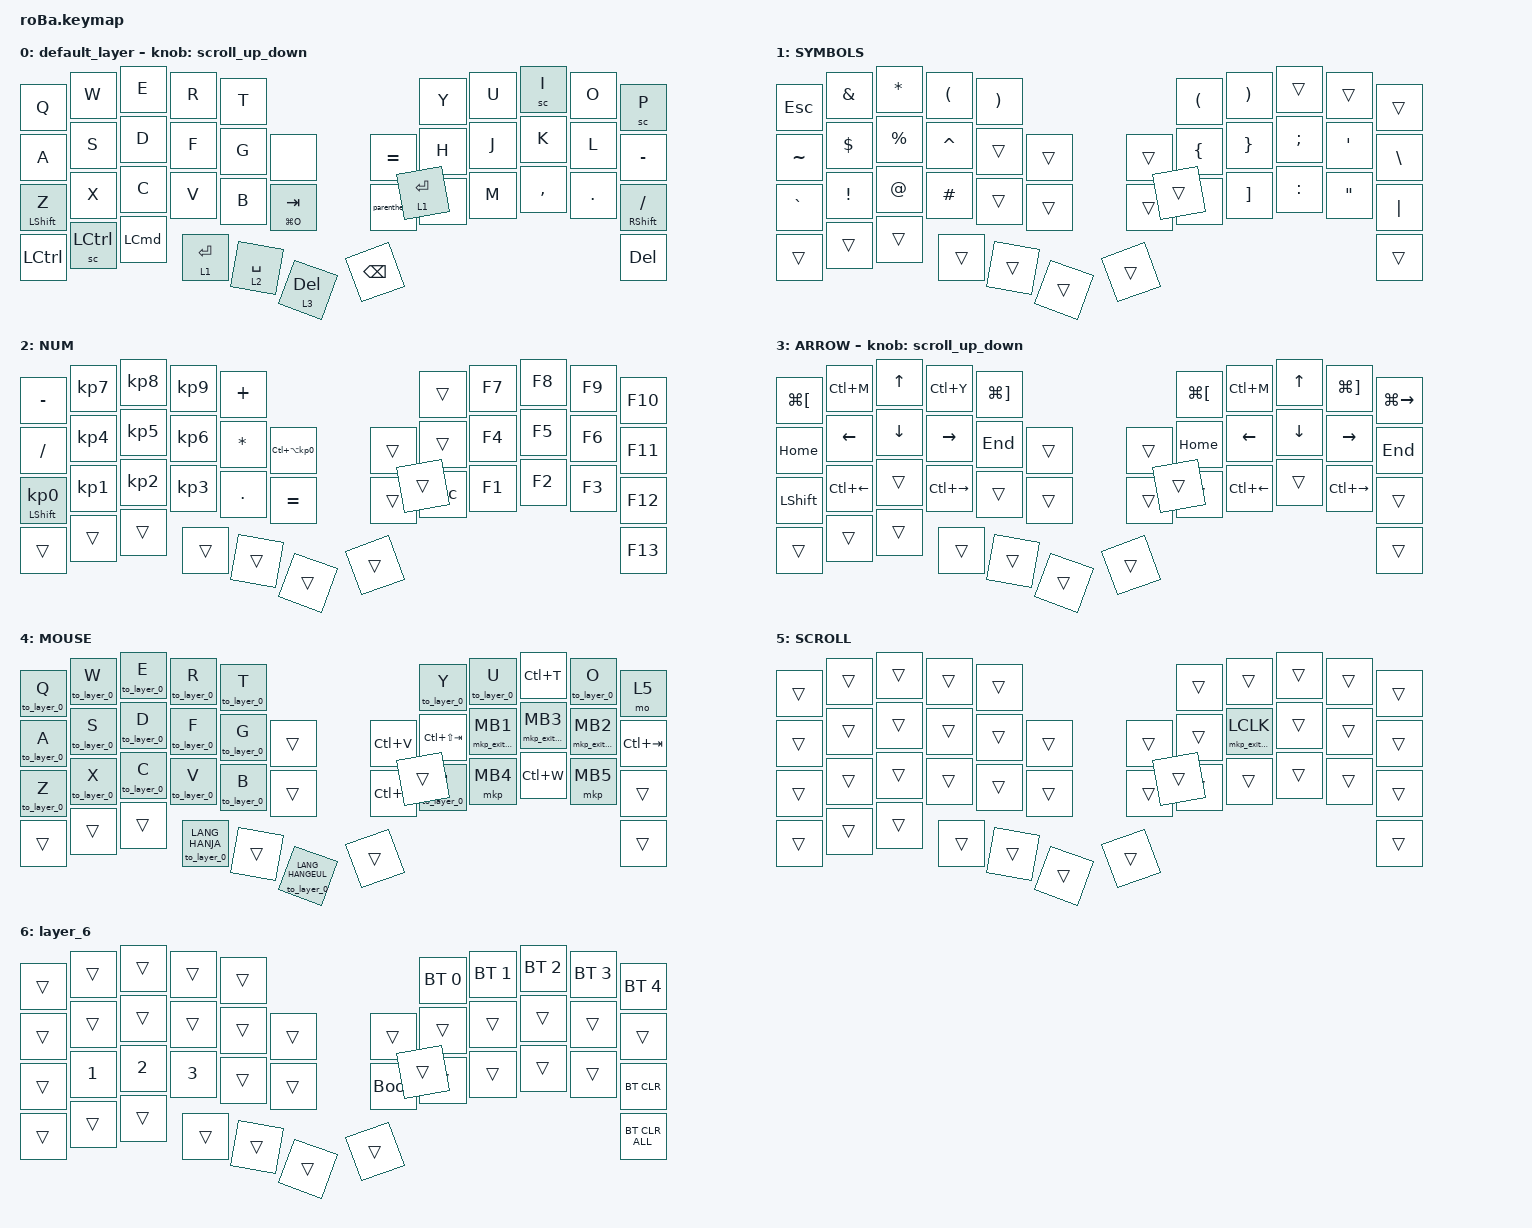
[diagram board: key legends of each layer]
#include <behaviors.dtsi>
#include <dt-bindings/zmk/bt.h>
#include <dt-bindings/zmk/keys.h>
#include <dt-bindings/zmk/pointing.h>

#define ZMK_MOUSE_DEFAULT_SCRL_VAL 100
#define MOUSE 4
#define SCROLL 5
#define NUM 6

&mt {
    flavor = "hold-preferred";
    quick-tap-ms = <0>;
};

&sl { release-after-ms = <250>; };

/ {
    combos {
        compatible = "zmk,combos";

        BT0 {
            bindings = <&bt BT_SEL 0>;
            key-positions = <28>;
        };

        BT1 {
            bindings = <&bt BT_SEL 1>;
            key-positions = <28 23>;
        };

        BT2 {
            bindings = <&bt BT_SEL 2>;
            key-positions = <28 24>;
        };
    };

    macros {
        to_layer_0: to_layer_0 {
            compatible = "zmk,behavior-macro-one-param";
            #binding-cells = <1>;
            bindings = <&to 0 &macro_param_1to1 &kp MACRO_PLACEHOLDER>;
            label = "TO_LAYER_0";
        };

        mkp_exit_AML: mkp_exit_AML {
            compatible = "zmk,behavior-macro-one-param";
            #binding-cells = <1>;
            bindings =
                <&macro_press>,
                <&macro_param_1to1 &mkp MACRO_PLACEHOLDER>,
                <&macro_pause_for_release>,
                <&macro_release>,
                <&macro_param_1to1 &mkp MACRO_PLACEHOLDER>,
                <&macro_tap>,
                <&sl 4>;

            label = "MKP_EXIT_AML";
        };

        parenthesis: parenthesis {
            compatible = "zmk,behavior-macro";
            #binding-cells = <0>;
            bindings = <&kp LANG_HANJA &kp LEFT_PARENTHESIS &kp RIGHT_PARENTHESIS &kp LEFT_ARROW>;
            label = "parenthesis";
        };

        /* 追加：スクロール制御マクロ */

       sc: scroll_control {
        compatible = "zmk,behavior-macro";
        #binding-cells = <0>;
        wait-ms = <0>;
        tap-ms = <0>;
        bindings =
            <&macro_press>,
            <&mo 5 &kp LGUI>, /* Command(LGUI)とレイヤー5を同時にON */
            <&macro_pause_for_release>,
            <&macro_release>,
            <&kp LGUI &mo 5>; /* 指を離したら両方OFF */
        label = "Scroll Zoom Mac";
        };
    };

    behaviors {
        scroll_up_down: behavior_sensor_rotate_mouse_wheel_up_down {
            compatible = "zmk,behavior-sensor-rotate";
            #sensor-binding-cells = <0>;
            bindings = <&msc SCRL_UP>, <&msc SCRL_DOWN>;

            tap-ms = <20>;
        };

        /* 追加：ズーム/タップ切り替え挙動 */

        zp: zoom_tap {
        compatible = "zmk,behavior-hold-tap";
        label = "Zoom / Tap";
        #binding-cells = <2>;
        bindings = <&sc>, <&kp>;
        tapping-term-ms = <200>;
        flavor = "balanced";
        hold-while-undecided; /* ボールを動かした瞬間にHold判定（ズーム開始） */
        };
    };

    keymap {
        compatible = "zmk,keymap";

        default_layer {
            bindings = <
&kp Q             &kp W               &kp E             &kp R        &kp T                                          &kp Y        &kp U  &zp 0 I    &kp O    &zp 0 P
&kp A             &kp S               &kp D             &kp F        &kp G        &none              &kp EQUAL      &kp H        &kp J  &kp K      &kp L    &kp MINUS
&mt LEFT_SHIFT Z  &kp X               &kp C             &kp V        &kp B        &mt LG(O) TAB      &parenthesis   &kp N        &kp M  &kp COMMA  &kp DOT  &mt RIGHT_SHIFT SLASH
&kp LEFT_CONTROL  &zp 0 LEFT_CONTROL  &kp LEFT_COMMAND  &lt 1 ENTER  &lt 2 SPACE  &lt 3 DEL          &kp BACKSPACE  &lt 1 ENTER                             &kp DEL
            >;

            sensor-bindings = <&scroll_up_down>;
        };

        SYMBOLS {
            bindings = <
&kp ESCAPE  &kp AMPERSAND    &kp ASTERISK  &kp LEFT_PARENTHESIS  &kp RIGHT_PARENTHESIS                      &kp LEFT_PARENTHESIS  &kp RIGHT_PARENTHESIS  &trans         &trans             &trans
&kp TILDE   &kp DOLLAR       &kp PERCENT   &kp CARET             &trans                 &trans      &trans  &kp LEFT_BRACE        &kp RIGHT_BRACE        &kp SEMICOLON  &kp SINGLE_QUOTE   &kp BACKSLASH
&kp GRAVE   &kp EXCLAMATION  &kp AT_SIGN   &kp HASH              &trans                 &trans      &trans  &kp LEFT_BRACKET      &kp RIGHT_BRACKET      &kp COLON      &kp DOUBLE_QUOTES  &kp PIPE
&trans      &trans           &trans        &trans                &trans                 &trans      &trans  &trans                                                                         &trans
            >;
        };

        NUM {
            bindings = <
&kp MINUS                   &kp KP_NUMBER_7  &kp KP_NUMBER_8  &kp KP_NUMBER_9  &kp PLUS                                           &trans      &kp F7  &kp F8  &kp F9  &kp F10
&kp SLASH                   &kp KP_NUMBER_4  &kp KP_NUMBER_5  &kp KP_NUMBER_6  &kp ASTERISK  &kp LC(LA(KP_NUMBER_0))      &trans  &trans      &kp F4  &kp F5  &kp F6  &kp F11
&mt LEFT_SHIFT KP_NUMBER_0  &kp KP_NUMBER_1  &kp KP_NUMBER_2  &kp KP_NUMBER_3  &kp PERIOD    &kp EQUAL                    &trans  &kp ESCAPE  &kp F1  &kp F2  &kp F3  &kp F12
&trans                      &trans           &trans           &trans           &trans        &trans                       &trans  &trans                              &kp F13
            >;
        };

        ARROW {
            bindings = <
&kp LG(LEFT_BRACKET)  &kp LC(M)       &kp UP_ARROW    &kp LC(Y)        &kp LG(RIGHT_BRACKET)                      &kp LG(LEFT_BRACKET)  &kp LC(M)           &kp UP_ARROW    &kp LG(RIGHT_BRACKET)  &kp LG(RIGHT_ARROW)
&kp HOME              &kp LEFT_ARROW  &kp DOWN_ARROW  &kp RIGHT_ARROW  &kp END                &trans      &trans  &kp HOME              &kp LEFT_ARROW      &kp DOWN_ARROW  &kp RIGHT_ARROW        &kp END
&kp LEFT_SHIFT        &kp LC(LEFT)    &trans          &kp LC(RIGHT)    &trans                 &trans      &trans  &trans                &kp LC(LEFT_ARROW)  &trans          &kp LC(RIGHT)          &trans
&trans                &trans          &trans          &trans           &trans                 &trans      &trans  &trans                                                                           &trans
            >;

            sensor-bindings = <&scroll_up_down>;
        };

        MOUSE {
            bindings = <
&to_layer_0 Q  &to_layer_0 W  &to_layer_0 E  &to_layer_0 R           &to_layer_0 T                                           &to_layer_0 Y    &to_layer_0 U      &kp LC(T)          &to_layer_0 O      &mo 5
&to_layer_0 A  &to_layer_0 S  &to_layer_0 D  &to_layer_0 F           &to_layer_0 G  &trans                        &kp LC(V)  &kp LC(LS(TAB))  &mkp_exit_AML MB1  &mkp_exit_AML MB3  &mkp_exit_AML MB2  &kp LC(TAB)
&to_layer_0 Z  &to_layer_0 X  &to_layer_0 C  &to_layer_0 V           &to_layer_0 B  &trans                        &kp LC(C)  &to_layer_0 N    &mkp MB4           &kp LC(W)          &mkp MB5           &trans
&trans         &trans         &trans         &to_layer_0 LANG_HANJA  &trans         &to_layer_0 LANG_HANGEUL      &trans     &trans                                                                    &trans
            >;
        };

        SCROLL {
            bindings = <
&trans  &trans  &trans  &trans  &trans                      &trans  &trans              &trans  &trans  &trans
&trans  &trans  &trans  &trans  &trans  &trans      &trans  &trans  &mkp_exit_AML LCLK  &trans  &trans  &trans
&trans  &trans  &trans  &trans  &trans  &trans      &trans  &trans  &trans              &trans  &trans  &trans
&trans  &trans  &trans  &trans  &trans  &trans      &trans  &trans                                      &trans
            >;
        };

        layer_6 {
            bindings = <
&trans  &trans        &trans        &trans        &trans                           &bt BT_SEL 0  &bt BT_SEL 1  &bt BT_SEL 2  &bt BT_SEL 3  &bt BT_SEL 4
&trans  &trans        &trans        &trans        &trans  &trans      &trans       &trans        &trans        &trans        &trans        &trans
&trans  &kp NUMBER_1  &kp NUMBER_2  &kp NUMBER_3  &trans  &trans      &bootloader  &trans        &trans        &trans        &trans        &bt BT_CLR
&trans  &trans        &trans        &trans        &trans  &trans      &trans       &trans                                                  &bt BT_CLR_ALL
            >;
        };
    };
};
